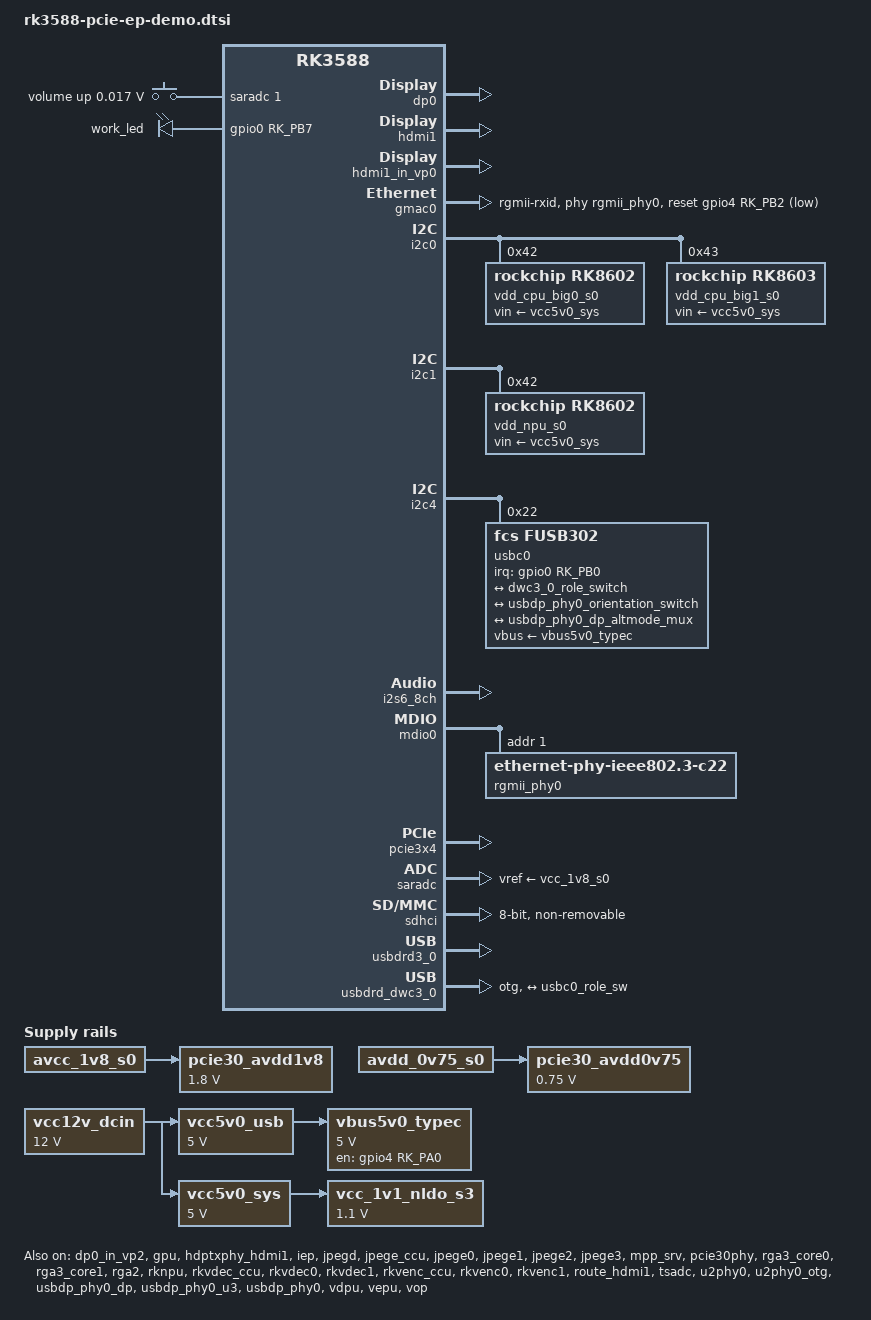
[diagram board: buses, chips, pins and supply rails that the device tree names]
// SPDX-License-Identifier: (GPL-2.0+ OR MIT)
/*
 * Copyright (c) 2023 Rockchip Electronics Co., Ltd.
 *
 */

#include "dt-bindings/usb/pd.h"
#include "rk3588.dtsi"
#include <dt-bindings/gpio/gpio.h>
#include <dt-bindings/pwm/pwm.h>
#include <dt-bindings/pinctrl/rockchip.h>
#include <dt-bindings/input/rk-input.h>
#include <dt-bindings/display/drm_mipi_dsi.h>
#include <dt-bindings/display/rockchip_vop.h>
#include "rk3588-rk806-single.dtsi"

/ {
	adc_keys: adc-keys {
		compatible = "adc-keys";
		io-channels = <&saradc 1>;
		io-channel-names = "buttons";
		keyup-threshold-microvolt = <1800000>;
		poll-interval = <100>;

		vol-up-key {
			label = "volume up";
			linux,code = <KEY_VOLUMEUP>;
			press-threshold-microvolt = <17000>;
		};
	};

	dp0_sound: dp0-sound {
		status = "disabled";
		compatible = "rockchip,hdmi";
		rockchip,card-name= "rockchip-dp0";
		rockchip,mclk-fs = <512>;
		rockchip,cpu = <&spdif_tx2>;
		rockchip,codec = <&dp0 1>;
		rockchip,jack-det;
	};

	hdmi1_sound: hdmi1-sound {
		status = "disabled";
		compatible = "rockchip,hdmi";
		rockchip,mclk-fs = <128>;
		rockchip,card-name = "rockchip-hdmi1";
		rockchip,cpu = <&i2s6_8ch>;
		rockchip,codec = <&hdmi1>;
		rockchip,jack-det;
	};

	leds: leds {
		compatible = "gpio-leds";
		work_led: work {
			gpios = <&gpio0 RK_PB7 GPIO_ACTIVE_HIGH>;
			linux,default-trigger = "heartbeat";
		};
	};

	pcie30_avdd1v8: pcie30-avdd1v8 {
		compatible = "regulator-fixed";
		regulator-name = "pcie30_avdd1v8";
		regulator-boot-on;
		regulator-always-on;
		regulator-min-microvolt = <1800000>;
		regulator-max-microvolt = <1800000>;
		vin-supply = <&avcc_1v8_s0>;
	};

	pcie30_avdd0v75: pcie30-avdd0v75 {
		compatible = "regulator-fixed";
		regulator-name = "pcie30_avdd0v75";
		regulator-boot-on;
		regulator-always-on;
		regulator-min-microvolt = <750000>;
		regulator-max-microvolt = <750000>;
		vin-supply = <&avdd_0v75_s0>;
	};

	reserved-memory {
		#address-cells = <2>;
		#size-cells = <2>;
		ranges;
		bar0_region: bar0-region@3c000000 {
			reg = <0x0 0x3c000000 0x0 0x00400000>;
		};
		bar2_region: bar2-region@40000000 {
			reg = <0x0 0x40000000 0x0 0x04000000>;
		};
	};

	test-power {
		status = "okay";
	};

	vbus5v0_typec: vbus5v0-typec {
		compatible = "regulator-fixed";
		regulator-name = "vbus5v0_typec";
		regulator-min-microvolt = <5000000>;
		regulator-max-microvolt = <5000000>;
		enable-active-high;
		gpio = <&gpio4 RK_PA0 GPIO_ACTIVE_HIGH>;
		vin-supply = <&vcc5v0_usb>;
		pinctrl-names = "default";
		pinctrl-0 = <&typec5v_pwren>;
	};

	vcc12v_dcin: vcc12v-dcin {
		compatible = "regulator-fixed";
		regulator-name = "vcc12v_dcin";
		regulator-always-on;
		regulator-boot-on;
		regulator-min-microvolt = <12000000>;
		regulator-max-microvolt = <12000000>;
	};

	vcc5v0_usb: vcc5v0-usb {
		compatible = "regulator-fixed";
		regulator-name = "vcc5v0_usb";
		regulator-always-on;
		regulator-boot-on;
		regulator-min-microvolt = <5000000>;
		regulator-max-microvolt = <5000000>;
		vin-supply = <&vcc12v_dcin>;
	};

	vcc5v0_sys: vcc5v0-sys {
		compatible = "regulator-fixed";
		regulator-name = "vcc5v0_sys";
		regulator-always-on;
		regulator-boot-on;
		regulator-min-microvolt = <5000000>;
		regulator-max-microvolt = <5000000>;
		vin-supply = <&vcc12v_dcin>;
	};

	vcc_1v1_nldo_s3: vcc-1v1-nldo-s3 {
		compatible = "regulator-fixed";
		regulator-name = "vcc_1v1_nldo_s3";
		regulator-always-on;
		regulator-boot-on;
		regulator-min-microvolt = <1100000>;
		regulator-max-microvolt = <1100000>;
		vin-supply = <&vcc5v0_sys>;
	};
};

&av1d_mmu {
	status = "okay";
};

&cpu_l0 {
	cpu-supply = <&vdd_cpu_lit_s0>;
	mem-supply = <&vdd_cpu_lit_mem_s0>;
};

&cpu_b0 {
	cpu-supply = <&vdd_cpu_big0_s0>;
	mem-supply = <&vdd_cpu_big0_mem_s0>;
};

&cpu_b2 {
	cpu-supply = <&vdd_cpu_big1_s0>;
	mem-supply = <&vdd_cpu_big1_mem_s0>;
};

&dp0 {
	status = "okay";
};

&dp0_in_vp2 {
	status = "okay";
};

&gpu {
	mali-supply = <&vdd_gpu_s0>;
	mem-supply = <&vdd_gpu_mem_s0>;
	status = "okay";
};

&hdmi1 {
	enable-gpios = <&gpio4 RK_PA1 GPIO_ACTIVE_HIGH>;
	pinctrl-names = "default";
	pinctrl-0 = <&hdmim2_tx1_cec &hdmim1_tx1_hpd &hdmim1_tx1_scl &hdmim1_tx1_sda>;
	status = "okay";
};

&hdmi1_in_vp0 {
	status = "okay";
};

&hdmi1_sound {
	status = "okay";
};

&hdptxphy_hdmi1 {
	status = "okay";
};

&gmac0 {
	/* Use rgmii-rxid mode to disable rx delay inside Soc */
	phy-mode = "rgmii-rxid";
	clock_in_out = "output";

	snps,reset-gpio = <&gpio4 RK_PB2 GPIO_ACTIVE_LOW>;
	snps,reset-active-low;
	/* Reset time is 20ms, 100ms for rtl8211f */
	snps,reset-delays-us = <0 20000 100000>;

	pinctrl-names = "default";
	pinctrl-0 = <&gmac0_miim
		     &gmac0_tx_bus2
		     &gmac0_rx_bus2
		     &gmac0_rgmii_clk
		     &gmac0_rgmii_bus
		     &eth0_pins>;

	tx_delay = <0x44>;
	/* rx_delay = <0x4f>; */

	phy-handle = <&rgmii_phy0>;
	status = "okay";
};

&iep {
	status = "okay";
};

&iep_mmu {
	status = "okay";
};

&i2c0 {
	status = "okay";
	pinctrl-names = "default";
	pinctrl-0 = <&i2c0m2_xfer>;

	vdd_cpu_big0_s0: vdd_cpu_big0_mem_s0: rk8602@42 {
		compatible = "rockchip,rk8602";
		reg = <0x42>;
		vin-supply = <&vcc5v0_sys>;
		regulator-compatible = "rk860x-reg";
		regulator-name = "vdd_cpu_big0_s0";
		regulator-min-microvolt = <550000>;
		regulator-max-microvolt = <1050000>;
		regulator-ramp-delay = <2300>;
		rockchip,suspend-voltage-selector = <1>;
		regulator-boot-on;
		regulator-always-on;
		regulator-state-mem {
			regulator-off-in-suspend;
		};
	};

	vdd_cpu_big1_s0: vdd_cpu_big1_mem_s0: rk8603@43 {
		compatible = "rockchip,rk8603";
		reg = <0x43>;
		vin-supply = <&vcc5v0_sys>;
		regulator-compatible = "rk860x-reg";
		regulator-name = "vdd_cpu_big1_s0";
		regulator-min-microvolt = <550000>;
		regulator-max-microvolt = <1050000>;
		regulator-ramp-delay = <2300>;
		rockchip,suspend-voltage-selector = <1>;
		regulator-boot-on;
		regulator-always-on;
		regulator-state-mem {
			regulator-off-in-suspend;
		};
	};
};

&i2c1 {
	status = "okay";
	pinctrl-names = "default";
	pinctrl-0 = <&i2c1m2_xfer>;

	vdd_npu_s0: vdd_npu_mem_s0: rk8602@42 {
		compatible = "rockchip,rk8602";
		reg = <0x42>;
		vin-supply = <&vcc5v0_sys>;
		regulator-compatible = "rk860x-reg";
		regulator-name = "vdd_npu_s0";
		regulator-min-microvolt = <550000>;
		regulator-max-microvolt = <950000>;
		regulator-ramp-delay = <2300>;
		rockchip,suspend-voltage-selector = <1>;
		regulator-boot-on;
		regulator-always-on;
		regulator-state-mem {
			regulator-off-in-suspend;
		};
	};
};

&i2c4 {
	status = "okay";
	pinctrl-names = "default";
	pinctrl-0 = <&i2c4m2_xfer>;

	usbc0: fusb302@22 {
		compatible = "fcs,fusb302";
		reg = <0x22>;
		interrupt-parent = <&gpio0>;
		interrupts = <RK_PB0 IRQ_TYPE_LEVEL_LOW>;
		pinctrl-names = "default";
		pinctrl-0 = <&usbc0_int>;
		vbus-supply = <&vbus5v0_typec>;
		status = "okay";

		ports {
			#address-cells = <1>;
			#size-cells = <0>;

			port@0 {
				reg = <0>;
				usbc0_role_sw: endpoint@0 {
					remote-endpoint = <&dwc3_0_role_switch>;
				};
			};
		};

		usb_con: connector {
			compatible = "usb-c-connector";
			label = "USB-C";
			data-role = "dual";
			power-role = "dual";
			try-power-role = "sink";
			op-sink-microwatt = <1000000>;
			sink-pdos =
				<PDO_FIXED(5000, 1000, PDO_FIXED_USB_COMM)>;
			source-pdos =
				<PDO_FIXED(5000, 3000, PDO_FIXED_USB_COMM)>;

			altmodes {
				#address-cells = <1>;
				#size-cells = <0>;

				altmode@0 {
					reg = <0>;
					svid = <0xff01>;
					vdo = <0xffffffff>;
				};
			};

			ports {
				#address-cells = <1>;
				#size-cells = <0>;

				port@0 {
					reg = <0>;
					usbc0_orien_sw: endpoint {
						remote-endpoint = <&usbdp_phy0_orientation_switch>;
					};
				};

				port@1 {
					reg = <1>;
					dp_altmode_mux: endpoint {
						remote-endpoint = <&usbdp_phy0_dp_altmode_mux>;
					};
				};
			};
		};
	};
};

&i2s6_8ch {
	status = "okay";
};

&jpegd {
	status = "okay";
};

&jpegd_mmu {
	status = "okay";
};

&jpege_ccu {
	status = "okay";
};

&jpege0 {
	status = "okay";
};

&jpege0_mmu {
	status = "okay";
};

&jpege1 {
	status = "okay";
};

&jpege1_mmu {
	status = "okay";
};

&jpege2 {
	status = "okay";
};

&jpege2_mmu {
	status = "okay";
};

&jpege3 {
	status = "okay";
};

&jpege3_mmu {
	status = "okay";
};

&mdio0 {
	rgmii_phy0: phy@1 {
		compatible = "ethernet-phy-ieee802.3-c22";
		reg = <0x1>;
		clocks = <&cru REFCLKO25M_ETH0_OUT>;
	};
};

&mpp_srv {
	status = "okay";
};

&pcie30phy {
	status = "okay";
};

&pcie3x4 {
	compatible = "rockchip,rk3588-pcie-std-ep";
	memory-region = <&bar0_region>, <&bar2_region>;
	memory-region-names = "bar0", "bar2";
	status = "okay";
};

&rga3_core0 {
	status = "okay";
};

&rga3_0_mmu {
	status = "okay";
};

&rga3_core1 {
	status = "okay";
};

&rga3_1_mmu {
	status = "okay";
};

&rga2 {
	status = "okay";
};

&rknpu {
	rknpu-supply = <&vdd_npu_s0>;
	mem-supply = <&vdd_npu_mem_s0>;
	status = "okay";
};

&rknpu_mmu {
	status = "okay";
};

&rkvdec_ccu {
	status = "okay";
};

&rkvdec0 {
	status = "okay";
};

&rkvdec0_mmu {
	status = "okay";
};

&rkvdec1 {
	status = "okay";
};

&rkvdec1_mmu {
	status = "okay";
};

&rkvenc_ccu {
	status = "okay";
};

&rkvenc0 {
	status = "okay";
};

&rkvenc0_mmu {
	status = "okay";
};

&rkvenc1 {
	status = "okay";
};

&rkvenc1_mmu {
	status = "okay";
};

&rockchip_suspend {
	status = "okay";
	rockchip,sleep-debug-en = <1>;
};

&route_hdmi1 {
	status = "okay";
};

&saradc {
	status = "okay";
	vref-supply = <&vcc_1v8_s0>;
};

&sdhci {
	bus-width = <8>;
	no-sdio;
	no-sd;
	non-removable;
	max-frequency = <200000000>;
	mmc-hs400-1_8v;
	mmc-hs400-enhanced-strobe;
	status = "okay";
};

&tsadc {
	status = "okay";
};

&u2phy0 {
	status = "okay";
};

&u2phy0_otg {
	status = "okay";
};

&usbdp_phy0_dp {
	status = "okay";
};

&usbdp_phy0_u3 {
	status = "okay";
};

&usbdrd3_0 {
	status = "okay";
};

&usbdp_phy0 {
	status = "okay";
	orientation-switch;
	svid = <0xff01>;
	sbu1-dc-gpios = <&gpio4 RK_PA6 GPIO_ACTIVE_HIGH>;
	sbu2-dc-gpios = <&gpio4 RK_PA7 GPIO_ACTIVE_HIGH>;

	port {
		#address-cells = <1>;
		#size-cells = <0>;
		usbdp_phy0_orientation_switch: endpoint@0 {
			reg = <0>;
			remote-endpoint = <&usbc0_orien_sw>;
		};

		usbdp_phy0_dp_altmode_mux: endpoint@1 {
			reg = <1>;
			remote-endpoint = <&dp_altmode_mux>;
		};
	};
};

&usbdrd_dwc3_0 {
	status = "okay";
	dr_mode = "otg";
	usb-role-switch;
	port {
		#address-cells = <1>;
		#size-cells = <0>;
		dwc3_0_role_switch: endpoint@0 {
			reg = <0>;
			remote-endpoint = <&usbc0_role_sw>;
		};
	};
};

&vdpu {
	status = "okay";
};

&vdpu_mmu {
	status = "okay";
};

&vepu {
	status = "okay";
};

&vop {
	status = "okay";
};

&vop_mmu {
	status = "okay";
};

/* vp0 & vp1 splice for 8K output */
&vp0 {
	rockchip,plane-mask = <(1 << ROCKCHIP_VOP2_CLUSTER0 | 1 << ROCKCHIP_VOP2_ESMART0)>;
	rockchip,primary-plane = <ROCKCHIP_VOP2_ESMART0>;
};

&vp1 {
	rockchip,plane-mask = <(1 << ROCKCHIP_VOP2_CLUSTER1 | 1 << ROCKCHIP_VOP2_ESMART1)>;
	rockchip,primary-plane = <ROCKCHIP_VOP2_ESMART1>;
};

&vp2 {
	rockchip,plane-mask = <(1 << ROCKCHIP_VOP2_CLUSTER2 | 1 << ROCKCHIP_VOP2_ESMART2)>;
	rockchip,primary-plane = <ROCKCHIP_VOP2_ESMART2>;
};

&pinctrl {

	usb-typec {
		usbc0_int: usbc0-int {
			rockchip,pins = <0 RK_PB0 RK_FUNC_GPIO &pcfg_pull_up>;
		};

		typec5v_pwren: typec5v-pwren {
			rockchip,pins = <4 RK_PA0 RK_FUNC_GPIO &pcfg_pull_none>;
		};
	};
};
